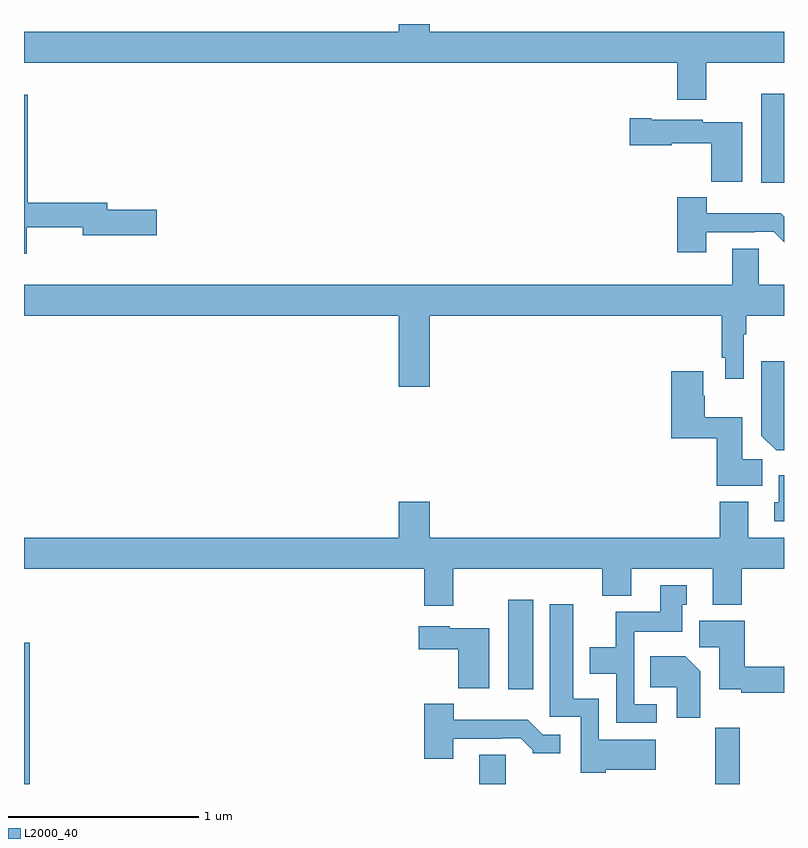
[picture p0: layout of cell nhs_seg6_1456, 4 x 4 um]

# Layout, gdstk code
import gdstk
lib = gdstk.Library(unit=1e-6, precision=1e-09)
def R(c, l, rs):  # rectangles x0, y0, x1, y1
    for r in rs: c.add(gdstk.rectangle(r[:2], r[2:], *l))
def P(c, l, *ps):  # polygons
    for p in ps: c.add(gdstk.Polygon(p, *l))
L2000_40 = (2000, 40)

nhs_seg6_1456 = lib.new_cell('nhs_seg6_1456')
R(nhs_seg6_1456, L2000_40, [(199,983.5,199.031,984.244), (201.395,983.5,201.535,983.654), (202.638,983.5,202.766,983.797), (201.548,984,201.679,984.469), (202.88,986.664,203,987.133)])
P(nhs_seg6_1456, L2000_40, [(202.591,987.296),(203,987.296),(203,987.46),(201.136,987.46),(201.136,987.5),(200.972,987.5),(200.972,987.46),(199,987.46),(199,987.296),(202.439,987.296),(202.439,987.102),(202.591,987.102)],
  [(199.014,986.43),(199.31,986.43),(199.31,986.387),(199.699,986.387),(199.699,986.522),(199.438,986.522),(199.438,986.558),(199.019,986.558),(199.019,987.127),(199,987.127),(199,986.292),(199.014,986.292)],
  [(202.78,986.983),(202.572,986.983),(202.572,986.995),(202.3,986.995),(202.3,987.003),(202.188,987.003),(202.188,986.861),(202.41,986.861),(202.41,986.873),(202.618,986.873),(202.618,986.669),(202.78,986.669)],
  [(202.591,986.403),(202.847,986.403),(202.847,986.406),(202.946,986.406),(203,986.352),(203,986.486),(202.983,986.503),(202.594,986.503),(202.594,986.587),(202.439,986.587),(202.439,986.298),(202.591,986.298)],
  [(201.136,985.964),(202.672,985.964),(202.672,985.744),(202.692,985.744),(202.692,985.632),(202.788,985.632),(202.788,985.868),(202.801,985.868),(202.801,985.964),(203,985.964),(203,986.128),(202.867,986.128),(202.867,986.318),(202.727,986.318),(202.727,986.128),(199,986.128),(199,985.964),(200.972,985.964),(200.972,985.59),(201.136,985.59)],
  [(203,985.726),(202.88,985.726),(202.88,985.334),(202.958,985.256),(203,985.256)],
  [(202.885,985.208),(202.78,985.208),(202.78,985.429),(202.584,985.429),(202.584,985.544),(202.576,985.544),(202.576,985.672),(202.406,985.672),(202.406,985.319),(202.646,985.319),(202.646,985.07),(202.885,985.07)],
  [(203,985.126),(202.973,985.126),(202.973,984.984),(202.949,984.984),(202.949,984.882),(203,984.882)],
  [(201.259,984.632),(202.043,984.632),(202.043,984.491),(202.195,984.491),(202.195,984.632),(202.625,984.632),(202.625,984.443),(202.778,984.443),(202.778,984.632),(203,984.632),(203,984.796),(202.813,984.796),(202.813,984.985),(202.661,984.985),(202.661,984.796),(201.136,984.796),(201.136,984.985),(200.972,984.985),(200.972,984.796),(199,984.796),(199,984.632),(201.107,984.632),(201.107,984.438),(201.259,984.438)],
  [(202.33,983.919),(202.212,983.919),(202.212,984.302),(202.465,984.302),(202.465,984.444),(202.489,984.444),(202.489,984.547),(202.349,984.547),(202.349,984.406),(202.114,984.406),(202.114,984.22),(201.977,984.22),(201.977,984.08),(202.116,984.08),(202.116,983.823),(202.33,983.823)],
  [(202.062,983.576),(202.324,983.576),(202.324,983.734),(202.026,983.734),(202.026,983.95),(201.892,983.95),(201.892,984.445),(201.767,984.445),(201.767,983.853),(201.93,983.853),(201.93,983.558),(202.062,983.558)],
  [(203,984.116),(202.793,984.116),(202.793,984.358),(202.553,984.358),(202.553,984.22),(202.658,984.22),(202.658,983.999),(202.774,983.999),(202.774,983.98),(203,983.98)],
  [(201.448,984.319),(201.24,984.319),(201.24,984.331),(201.078,984.331),(201.078,984.209),(201.286,984.209),(201.286,984.005),(201.448,984.005)],
  [(202.558,984.094),(202.48,984.172),(202.297,984.172),(202.297,984.008),(202.436,984.008),(202.436,983.85),(202.558,983.85)],
  [(201.259,983.739),(201.515,983.739),(201.515,983.742),(201.614,983.742),(201.678,983.678),(201.678,983.663),(201.823,983.663),(201.823,983.76),(201.729,983.76),(201.651,983.839),(201.262,983.839),(201.262,983.923),(201.107,983.923),(201.107,983.634),(201.259,983.634)])

lib.write_gds('nhs_seg6_1456.gds')
